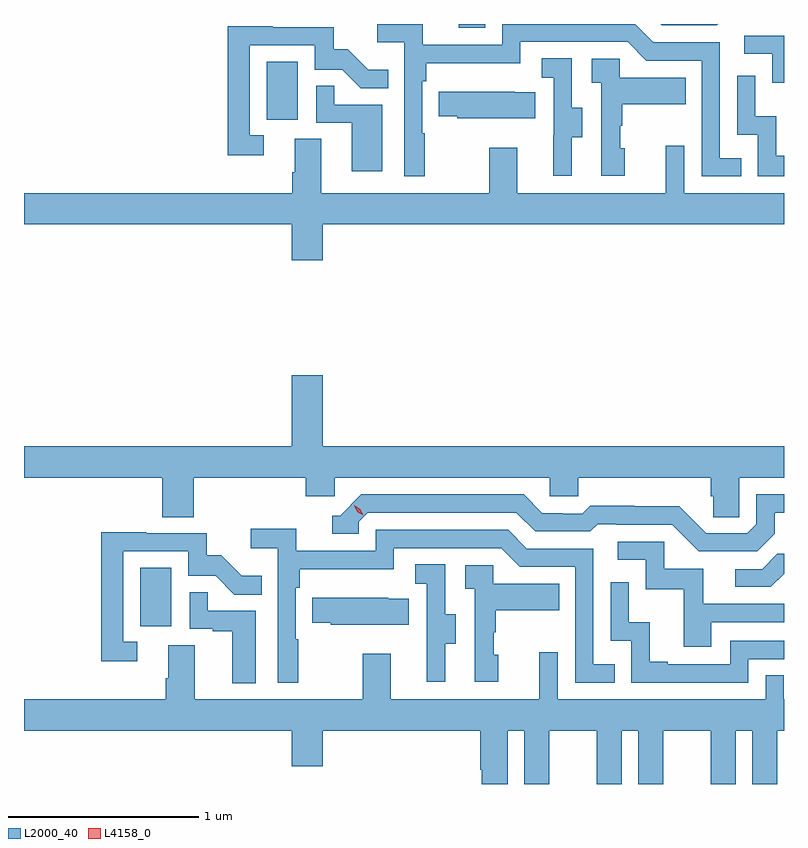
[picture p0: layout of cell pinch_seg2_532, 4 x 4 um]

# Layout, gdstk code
import gdstk
lib = gdstk.Library(unit=1e-6, precision=1e-09)
def R(c, l, rs):  # rectangles x0, y0, x1, y1
    for r in rs: c.add(gdstk.rectangle(r[:2], r[2:], *l))
def P(c, l, *ps):  # polygons
    for p in ps: c.add(gdstk.Polygon(p, *l))
L2000_40 = (2000, 40)
L4158_0 = (4158, 0)

pinch_seg2_532 = lib.new_cell('pinch_seg2_532')
R(pinch_seg2_532, L2000_40, [(1141.232,614.886,1141.396,615.193), (1141.898,617.55,1142.062,617.857), (1142.909,618.036,1143.048,618.055)])
P(pinch_seg2_532, L2000_40, [(1144.274,618.055),(1143.971,618.055),(1143.978,618.048),(1144.267,618.048)],
  [(1142.731,617.48),(1142.718,617.48),(1142.718,617.753),(1142.738,617.753),(1142.738,617.849),(1143.234,617.849),(1143.234,617.961),(1143.798,617.961),(1143.897,617.862),(1144.188,617.862),(1144.188,617.253),(1144.397,617.253),(1144.397,617.349),(1144.284,617.349),(1144.284,617.958),(1143.934,617.958),(1143.837,618.055),(1143.138,618.055),(1143.138,617.946),(1142.72,617.946),(1142.72,618.055),(1142.481,618.055),(1142.481,617.96),(1142.622,617.96),(1142.622,617.253),(1142.731,617.253)],
  [(1141.882,617.469),(1141.809,617.469),(1141.809,617.943),(1142.151,617.943),(1142.151,617.814),(1142.296,617.814),(1142.394,617.716),(1142.537,617.716),(1142.537,617.815),(1142.433,617.815),(1142.326,617.922),(1142.25,617.922),(1142.25,618.039),(1141.931,618.039),(1141.931,618.044),(1141.693,618.044),(1141.693,617.364),(1141.882,617.364)],
  [(1144.621,617.994),(1144.413,617.994),(1144.413,617.898),(1144.56,617.898),(1144.56,617.745),(1144.621,617.745)],
  [(1143.505,617.458),(1143.559,617.458),(1143.559,617.613),(1143.504,617.613),(1143.504,617.876),(1143.345,617.876),(1143.345,617.773),(1143.408,617.773),(1143.408,617.469),(1143.407,617.469),(1143.407,617.256),(1143.505,617.256)],
  [(1143.784,617.4),(1143.759,617.4),(1143.759,617.519),(1143.769,617.519),(1143.769,617.633),(1144.103,617.633),(1144.103,617.773),(1143.756,617.773),(1143.756,617.871),(1143.609,617.871),(1143.609,617.747),(1143.66,617.747),(1143.66,617.256),(1143.784,617.256)],
  [(1144.621,617.362),(1144.58,617.362),(1144.58,617.57),(1144.47,617.57),(1144.47,617.782),(1144.374,617.782),(1144.374,617.472),(1144.482,617.472),(1144.482,617.253),(1144.621,617.253)],
  [(1142.506,617.631),(1142.255,617.631),(1142.255,617.729),(1142.16,617.729),(1142.16,617.535),(1142.345,617.535),(1142.345,617.28),(1142.506,617.28)],
  [(1143.311,617.695),(1143.203,617.695),(1143.203,617.698),(1142.803,617.698),(1142.803,617.569),(1142.901,617.569),(1142.901,617.558),(1143.311,617.558)],
  [(1142.194,617),(1144.621,617),(1144.621,617.164),(1144.095,617.164),(1144.095,617.413),(1143.998,617.413),(1143.998,617.164),(1143.217,617.164),(1143.217,617.404),(1143.07,617.404),(1143.07,617.164),(1142.185,617.164),(1142.185,617.45),(1142.045,617.45),(1142.045,617.276),(1142.033,617.276),(1142.033,617.164),(1140.621,617.164),(1140.621,617),(1142.03,617),(1142.03,616.812),(1142.194,616.812)],
  [(1141.514,615.668),(1142.105,615.668),(1142.105,615.57),(1142.256,615.57),(1142.256,615.668),(1143.387,615.668),(1143.387,615.57),(1143.537,615.57),(1143.537,615.668),(1144.235,615.668),(1144.235,615.57),(1144.249,615.57),(1144.249,615.46),(1144.386,615.46),(1144.386,615.668),(1144.621,615.668),(1144.621,615.832),(1142.194,615.832),(1142.194,616.207),(1142.03,616.207),(1142.03,615.832),(1140.621,615.832),(1140.621,615.668),(1141.349,615.668),(1141.349,615.46),(1141.514,615.46)],
  [(1144.573,615.373),(1144.573,615.483),(1144.621,615.483),(1144.621,615.579),(1144.476,615.579),(1144.476,615.423),(1144.428,615.375),(1144.212,615.375),(1144.07,615.517),(1143.834,615.517),(1143.834,615.52),(1143.601,615.52),(1143.559,615.477),(1143.456,615.477),(1143.456,615.48),(1143.349,615.48),(1143.25,615.579),(1142.397,615.579),(1142.286,615.468),(1142.243,615.468),(1142.243,615.372),(1142.382,615.372),(1142.382,615.435),(1142.43,615.483),(1143.213,615.483),(1143.312,615.384),(1143.601,615.384),(1143.64,615.423),(1143.739,615.423),(1143.739,615.42),(1144.032,615.42),(1144.173,615.279),(1144.479,615.279)],
  [(1142.065,614.816),(1142.052,614.816),(1142.052,615.089),(1142.072,615.089),(1142.072,615.185),(1142.568,615.185),(1142.568,615.297),(1143.132,615.297),(1143.231,615.198),(1143.522,615.198),(1143.522,614.589),(1143.731,614.589),(1143.731,614.685),(1143.618,614.685),(1143.618,615.294),(1143.268,615.294),(1143.169,615.393),(1142.472,615.393),(1142.472,615.282),(1142.054,615.282),(1142.054,615.398),(1141.815,615.398),(1141.815,615.296),(1141.956,615.296),(1141.956,614.589),(1142.065,614.589)],
  [(1141.216,614.805),(1141.143,614.805),(1141.143,615.279),(1141.485,615.279),(1141.485,615.15),(1141.63,615.15),(1141.728,615.052),(1141.871,615.052),(1141.871,615.151),(1141.767,615.151),(1141.66,615.258),(1141.584,615.258),(1141.584,615.375),(1141.265,615.375),(1141.265,615.38),(1141.027,615.38),(1141.027,614.7),(1141.216,614.7)],
  [(1144.237,614.907),(1144.621,614.907),(1144.621,615.003),(1144.195,615.003),(1144.195,615.189),(1143.99,615.189),(1143.99,615.33),(1143.747,615.33),(1143.747,615.234),(1143.894,615.234),(1143.894,615.081),(1144.093,615.081),(1144.093,614.778),(1144.237,614.778)],
  [(1144.621,615.162),(1144.621,615.266),(1144.586,615.266),(1144.506,615.186),(1144.365,615.186),(1144.365,615.093),(1144.552,615.093)],
  [(1142.839,614.794),(1142.893,614.794),(1142.893,614.949),(1142.838,614.949),(1142.838,615.212),(1142.679,615.212),(1142.679,615.109),(1142.742,615.109),(1142.742,614.805),(1142.741,614.805),(1142.741,614.592),(1142.839,614.592)],
  [(1143.118,614.736),(1143.093,614.736),(1143.093,614.855),(1143.103,614.855),(1143.103,614.969),(1143.437,614.969),(1143.437,615.109),(1143.09,615.109),(1143.09,615.207),(1142.943,615.207),(1142.943,615.083),(1142.994,615.083),(1142.994,614.592),(1143.118,614.592)],
  [(1144.434,614.712),(1144.621,614.712),(1144.621,614.808),(1144.338,614.808),(1144.338,614.685),(1144.009,614.685),(1144.009,614.698),(1143.914,614.698),(1143.914,614.906),(1143.804,614.906),(1143.804,615.118),(1143.708,615.118),(1143.708,614.808),(1143.816,614.808),(1143.816,614.589),(1144.434,614.589)],
  [(1141.84,614.967),(1141.589,614.967),(1141.589,615.065),(1141.494,615.065),(1141.494,614.871),(1141.615,614.871),(1141.615,614.859),(1141.718,614.859),(1141.718,614.585),(1141.84,614.585)],
  [(1142.645,615.031),(1142.537,615.031),(1142.537,615.034),(1142.137,615.034),(1142.137,614.905),(1142.235,614.905),(1142.235,614.894),(1142.645,614.894)],
  [(1143.166,614.336),(1143.254,614.336),(1143.254,614.055),(1143.385,614.055),(1143.385,614.336),(1143.635,614.336),(1143.635,614.055),(1143.766,614.055),(1143.766,614.336),(1143.854,614.336),(1143.854,614.055),(1143.985,614.055),(1143.985,614.336),(1144.235,614.336),(1144.235,614.055),(1144.366,614.055),(1144.366,614.336),(1144.454,614.336),(1144.454,614.055),(1144.585,614.055),(1144.585,614.336),(1144.621,614.336),(1144.621,614.5),(1144.62,614.5),(1144.62,614.627),(1144.524,614.627),(1144.524,614.5),(1143.429,614.5),(1143.429,614.749),(1143.332,614.749),(1143.332,614.5),(1142.551,614.5),(1142.551,614.74),(1142.404,614.74),(1142.404,614.5),(1141.519,614.5),(1141.519,614.786),(1141.379,614.786),(1141.379,614.612),(1141.367,614.612),(1141.367,614.5),(1140.621,614.5),(1140.621,614.336),(1142.03,614.336),(1142.03,614.148),(1142.194,614.148),(1142.194,614.336),(1143.023,614.336),(1143.023,614.131),(1143.029,614.131),(1143.029,614.055),(1143.166,614.055)])
P(pinch_seg2_532, L4158_0, [(1142.406,615.47),(1142.376,615.489),(1142.36,615.521),(1142.36,615.521),(1142.36,615.521),(1142.39,615.502),(1142.406,615.47),(1142.406,615.47)])

lib.write_gds('pinch_seg2_532.gds')
